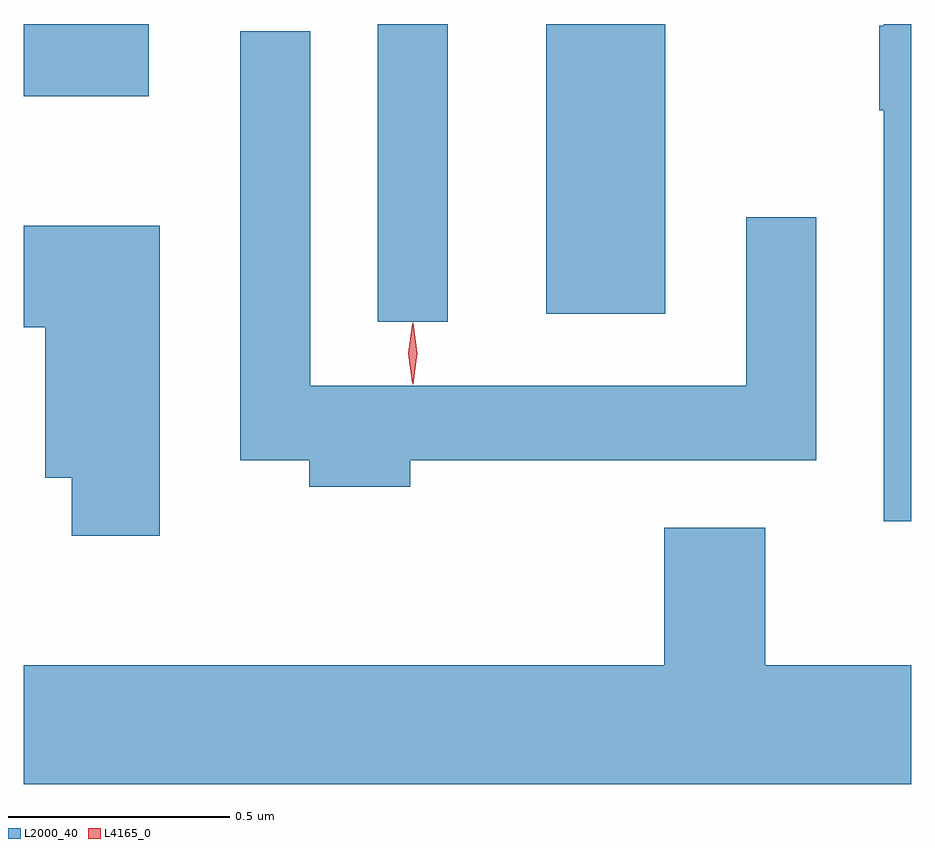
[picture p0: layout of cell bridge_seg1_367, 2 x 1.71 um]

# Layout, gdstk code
import gdstk
lib = gdstk.Library(unit=1e-6, precision=1e-09)
def R(c, l, rs):  # rectangles x0, y0, x1, y1
    for r in rs: c.add(gdstk.rectangle(r[:2], r[2:], *l))
def P(c, l, *ps):  # polygons
    for p in ps: c.add(gdstk.Polygon(p, *l))
L2000_40 = (2000, 40)
L4165_0 = (4165, 0)

bridge_seg1_367 = lib.new_cell('bridge_seg1_367')
R(bridge_seg1_367, L2000_40, [(930.826,873.978,930.984,874.649), (931.206,873.996,931.474,874.649), (930.028,874.486,930.309,874.649)])
P(bridge_seg1_367, L2000_40, [(932.028,874.649),(931.966,874.649),(931.966,874.645),(931.956,874.645),(931.956,874.455),(931.966,874.455),(931.966,873.528),(932.028,873.528)],
  [(930.899,873.666),(931.814,873.666),(931.814,874.213),(931.656,874.213),(931.656,873.834),(930.674,873.834),(930.674,874.633),(930.516,874.633),(930.516,873.666),(930.671,873.666),(930.671,873.606),(930.899,873.606)],
  [(930.334,874.194),(930.028,874.194),(930.028,873.966),(930.076,873.966),(930.076,873.626),(930.136,873.626),(930.136,873.496),(930.334,873.496)],
  [(932.028,873.204),(931.699,873.204),(931.699,873.514),(931.471,873.514),(931.471,873.204),(930.028,873.204),(930.028,872.936),(932.028,872.936)])
P(bridge_seg1_367, L4165_0, [(930.905,873.837),(930.905,873.837),(930.895,873.907),(930.905,873.976),(930.905,873.976),(930.906,873.976),(930.915,873.907),(930.906,873.837)],
  [(930.904,873.84),(930.895,873.906),(930.904,873.972),(930.905,873.973),(930.906,873.972),(930.915,873.906),(930.906,873.84),(930.905,873.84)])

lib.write_gds('bridge_seg1_367.gds')
